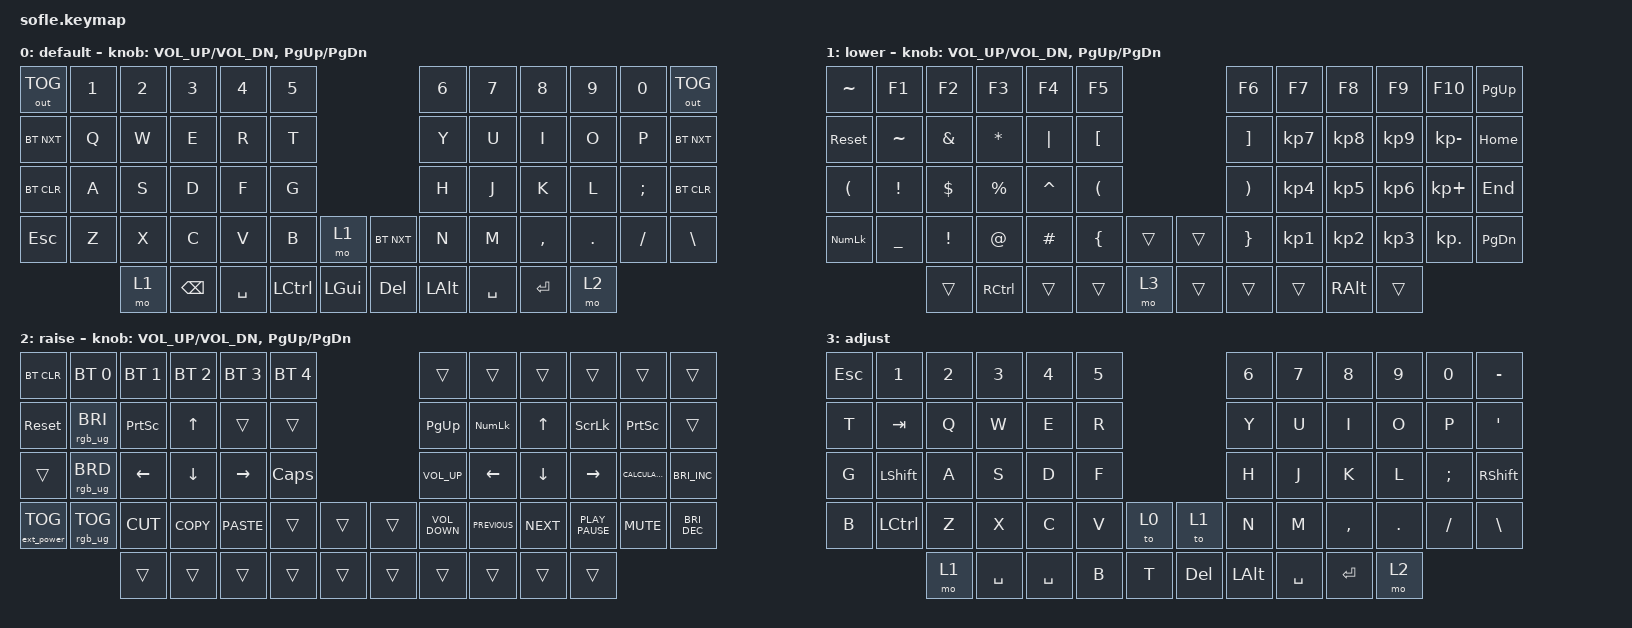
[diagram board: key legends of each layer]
/*
 * Copyright (c) 2020 The ZMK Contributors
 *
 * SPDX-License-Identifier: MIT
 */

#include <behaviors.dtsi>
#include <dt-bindings/zmk/bt.h>
#include <dt-bindings/zmk/ext_power.h>
#include <dt-bindings/zmk/keys.h>
#include <dt-bindings/zmk/outputs.h>
#include <dt-bindings/zmk/rgb.h>

#define BASE 0
#define LOWER 1
#define RAISE 2
#define ADJUST 3

/ {
    // Activate ADJUST layer by pressing raise and lower

    conditional_layers {
        compatible = "zmk,conditional-layers";

        adjust_layer {
            if-layers = <LOWER RAISE>;
            then-layer = <ADJUST>;
        };
    };

    behaviors {
        td0: tap_dance_0 {
            compatible = "zmk,behavior-tap-dance";
            #binding-cells = <0>;
            tapping-term-ms = <200>;
            bindings = <&mo 2>, <&none>, <&none>, <&to 3>;
        };
    };

    keymap {
        compatible = "zmk,keymap";

        default_layer {
            display-name = "default";

            // ------------------------------------------------------------------------------------------------------------
            // |   `   |  1  |  2  |  3   |  4   |  5   |                   |  6   |  7    |  8    |  9   |   0   |       |
            // |  ESC  |  Q  |  W  |  E   |  R   |  T   |                   |  Y   |  U    |  I    |  O   |   P   | BKSPC |
            // |  TAB  |  A  |  S  |  D   |  F   |  G   |                   |  H   |  J    |  K    |  L   |   ;   |   '   |
            // | SHIFT |  Z  |  X  |  C   |  V   |  B   |  MUTE  |  |       |  N   |  M    |  ,    |  .   |   /   | SHIFT |
            //               | GUI | ALT  | CTRL | LOWER|  ENTER |  | SPACE | RAISE| CTRL  | ALT   | GUI  |

            bindings = <
&out OUT_TOG  &kp N1  &kp N2  &kp N3    &kp N4     &kp N5                             &kp N6    &kp N7     &kp N8     &kp N9   &kp N0    &out OUT_TOG
&bt BT_NXT    &kp Q   &kp W   &kp E     &kp R      &kp T                              &kp Y     &kp U      &kp I      &kp O    &kp P     &bt BT_NXT
&bt BT_CLR    &kp A   &kp S   &kp D     &kp F      &kp G                              &kp H     &kp J      &kp K      &kp L    &kp SEMI  &bt BT_CLR
&kp ESC       &kp Z   &kp X   &kp C     &kp V      &kp B      &mo 1       &bt BT_NXT  &kp N     &kp M      &kp COMMA  &kp DOT  &kp FSLH  &kp BSLH
                      &mo 1   &kp BSPC  &kp SPACE  &kp LCTRL  &kp LGUI    &kp DEL     &kp LALT  &kp SPACE  &kp RET    &mo 2
            >;

            sensor-bindings = <&inc_dec_kp C_VOL_UP C_VOL_DN &inc_dec_kp PG_UP PG_DN>;
        };

        lower_layer {
            display-name = "lower";

            // TODO: Some binds are waiting for shifted keycode support.
            // ------------------------------------------------------------------------------------------------------------
            // |       |  F1 |  F2 |  F3  |  F4  |  F5  |                   |  F6  |  F7   |  F8   |  F9  |  F10  |  F11  |
            // |   `   |  1  |  2  |  3   |  4   |  5   |                   |  6   |  7    |  8    |  9   |   0   |  F12  |
            // |       |  !  |  @  |  #   |  $   |  %   |                   |  ^   |  &    |  *    |  (   |   )   |   |   |
            // |       |  =  |  -  |  +   |  {   |  }   |        |  |       |  [   |  ]    |  ;    |  :   |   \   |       |
            //               |     |      |      |      |        |  |       |      |       |       |      |

            bindings = <
&kp TILDE       &kp F1     &kp F2         &kp F3             &kp F4     &kp F5                                  &kp F6                 &kp F7           &kp F8           &kp F9           &kp F10          &kp PAGE_UP
&sys_reset      &kp TILDE  &kp AMPERSAND  &kp ASTERISK       &kp PIPE   &kp LEFT_BRACKET                        &kp RIGHT_BRACKET      &kp KP_NUMBER_7  &kp KP_NUMBER_8  &kp KP_NUMBER_9  &kp KP_SUBTRACT  &kp HOME
&kp LPAR        &kp EXCL   &kp DOLLAR     &kp PERCENT        &kp CARET  &kp LEFT_PARENTHESIS                    &kp RIGHT_PARENTHESIS  &kp KP_NUMBER_4  &kp KP_NUMBER_5  &kp KP_NUMBER_6  &kp KP_PLUS      &kp END
&kp KP_NUMLOCK  &kp UNDER  &kp EXCL       &kp AT             &kp HASH   &kp LEFT_BRACE        &trans    &trans  &kp RIGHT_BRACE        &kp KP_NUMBER_1  &kp KP_NUMBER_2  &kp KP_NUMBER_3  &kp KP_DOT       &kp PAGE_DOWN
                           &trans         &kp RIGHT_CONTROL  &trans     &trans                &mo 3     &trans  &trans                 &trans           &kp RIGHT_ALT    &trans
            >;

            sensor-bindings = <&inc_dec_kp C_VOL_UP C_VOL_DN &inc_dec_kp PG_UP PG_DN>;
        };

        raise_layer {
            display-name = "raise";

            // ------------------------------------------------------------------------------------------------------------
            // | BTCLR | BT1  | BT2  |  BT3  |  BT4  |  BT5 |                |      |      |       |      |       |       |
            // |       | INS  | PSCR | GUI   |       |      |                | PGUP |      |   ^   |      |       |       |
            // |       | ALT  | CTRL | SHIFT |       | CAPS |                | PGDN |   <- |   v   |  ->  |  DEL  | BKSPC |
            // |       | UNDO | CUT  | COPY  | PASTE |      |      |  |      |      |      |       |      |       |       |
            //                |      |       |       |      |      |  |      |      |      |       |      |

            bindings = <
&bt BT_CLR         &bt BT_SEL 0     &bt BT_SEL 1  &bt BT_SEL 2  &bt BT_SEL 3  &bt BT_SEL 4                    &trans             &trans          &trans      &trans            &trans            &trans
&sys_reset         &rgb_ug RGB_BRI  &kp PSCRN     &kp UP        &trans        &trans                          &kp PG_UP          &kp KP_NUMLOCK  &kp UP      &kp SCROLLLOCK    &kp PRINTSCREEN   &trans
&trans             &rgb_ug RGB_BRD  &kp LEFT      &kp DOWN      &kp RIGHT     &kp CLCK                        &kp C_VOLUME_UP    &kp LEFT        &kp DOWN    &kp RIGHT         &kp K_CALCULATOR  &kp C_BRIGHTNESS_INC
&ext_power EP_TOG  &rgb_ug RGB_TOG  &kp K_CUT     &kp K_COPY    &kp K_PASTE   &trans        &trans    &trans  &kp C_VOLUME_DOWN  &kp K_PREVIOUS  &kp K_NEXT  &kp K_PLAY_PAUSE  &kp K_MUTE        &kp C_BRIGHTNESS_DEC
                                    &trans        &trans        &trans        &trans        &trans    &trans  &trans             &trans          &trans      &trans
            >;

            sensor-bindings = <&inc_dec_kp C_VOL_UP C_VOL_DN &inc_dec_kp PG_UP PG_DN>;
        };

        adjust_layer {
            // ----------------------------------------------------------------------------------------------------------------------------
            // | BTCLR  |  BT1    |  BT2    |   BT3   |   BT4   |   BT5   |                  |      |      |       |      |       |       |
            // | EXTPWR | RGB_HUD | RGB_HUI | RGB_SAD | RGB_SAI | RGB_EFF |                  |      |      |       |      |       |       |
            // |        | RGB_BRD | RGB_BRI |         |         |         |                  |      |      |       |      |       |       |
            // |        |         |         |         |         |         | RGB_TOG | |      |      |      |       |      |       |       |
            //                    |         |         |         |         |         | |      |      |      |       |      |

            display-name = "adjust";
            bindings = <
&kp ESCAPE  &kp N1            &kp N2  &kp N3     &kp N4     &kp N5                    &kp N6    &kp N7     &kp N8     &kp N9   &kp N0    &kp MINUS
&kp T       &kp TAB           &kp Q   &kp W      &kp E      &kp R                     &kp Y     &kp U      &kp I      &kp O    &kp P     &kp SQT
&kp G       &kp LEFT_SHIFT    &kp A   &kp S      &kp D      &kp F                     &kp H     &kp J      &kp K      &kp L    &kp SEMI  &kp RIGHT_SHIFT
&kp B       &kp LEFT_CONTROL  &kp Z   &kp X      &kp C      &kp V   &to 0    &to 1    &kp N     &kp M      &kp COMMA  &kp DOT  &kp FSLH  &kp BSLH
                              &mo 1   &kp SPACE  &kp SPACE  &kp B   &kp T    &kp DEL  &kp LALT  &kp SPACE  &kp RET    &mo 2
            >;
        };
    };
};
